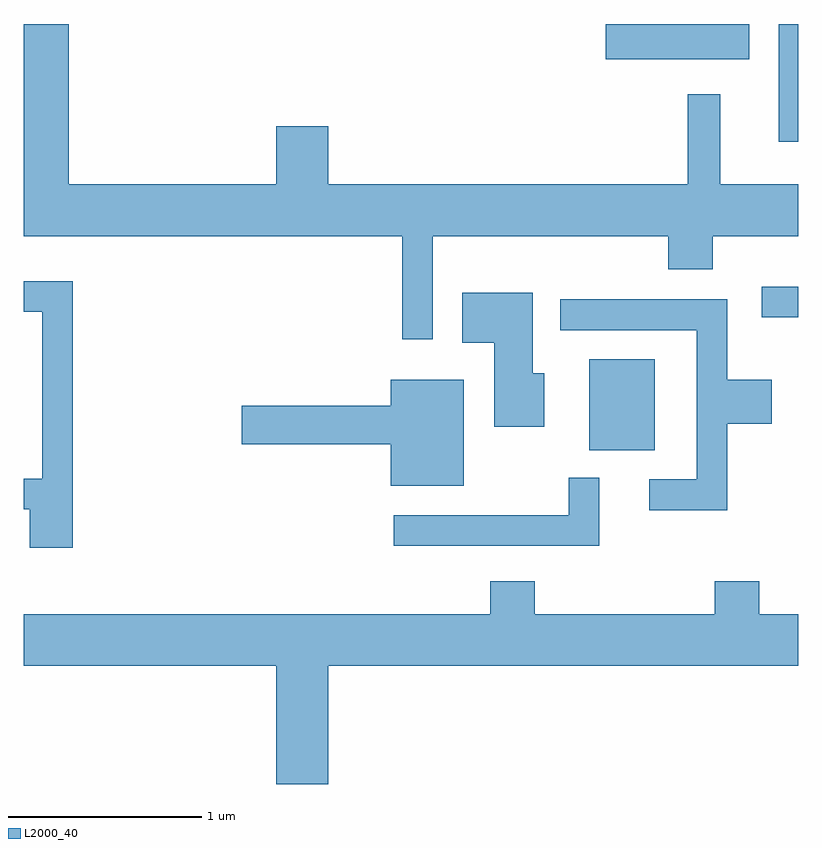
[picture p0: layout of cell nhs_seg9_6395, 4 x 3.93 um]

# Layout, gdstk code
import gdstk
lib = gdstk.Library(unit=1e-6, precision=1e-09)
def R(c, l, rs):  # rectangles x0, y0, x1, y1
    for r in rs: c.add(gdstk.rectangle(r[:2], r[2:], *l))
def P(c, l, *ps):  # polygons
    for p in ps: c.add(gdstk.Polygon(p, *l))
L2000_40 = (2000, 40)

nhs_seg9_6395 = lib.new_cell('nhs_seg9_6395')
R(nhs_seg9_6395, L2000_40, [(376.531,2026.231,376.869,2026.699), (377.423,2026.916,377.611,2027.074), (377.511,2027.823,377.611,2028.432), (376.616,2028.251,377.359,2028.432)])
P(nhs_seg9_6395, L2000_40, [(375.724,2027.336),(376.941,2027.336),(376.941,2027.166),(377.169,2027.166),(377.169,2027.336),(377.611,2027.336),(377.611,2027.604),(377.209,2027.604),(377.209,2028.068),(377.041,2028.068),(377.041,2027.604),(375.184,2027.604),(375.184,2027.904),(374.916,2027.904),(374.916,2027.604),(373.844,2027.604),(373.844,2028.432),(373.611,2028.432),(373.611,2027.336),(375.566,2027.336),(375.566,2026.803),(375.724,2026.803)],
  [(373.864,2027.104),(373.611,2027.104),(373.611,2026.946),(373.706,2026.946),(373.706,2026.084),(373.611,2026.084),(373.611,2025.926),(373.641,2025.926),(373.641,2025.726),(373.864,2025.726)],
  [(376.299,2026.629),(376.239,2026.629),(376.239,2027.044),(375.876,2027.044),(375.876,2026.786),(376.041,2026.786),(376.041,2026.351),(376.299,2026.351)],
  [(377.244,2026.366),(377.474,2026.366),(377.474,2026.594),(377.244,2026.594),(377.244,2027.009),(376.383,2027.009),(376.383,2026.851),(377.086,2026.851),(377.086,2026.079),(376.843,2026.079),(376.843,2025.921),(377.244,2025.921)],
  [(375.884,2026.594),(375.506,2026.594),(375.506,2026.459),(374.736,2026.459),(374.736,2026.261),(375.506,2026.261),(375.506,2026.046),(375.884,2026.046)],
  [(376.584,2026.088),(376.426,2026.088),(376.426,2025.894),(375.523,2025.894),(375.523,2025.736),(376.584,2025.736)],
  [(375.184,2025.116),(377.611,2025.116),(377.611,2025.384),(377.409,2025.384),(377.409,2025.554),(377.181,2025.554),(377.181,2025.384),(376.249,2025.384),(376.249,2025.554),(376.021,2025.554),(376.021,2025.384),(373.611,2025.384),(373.611,2025.116),(374.916,2025.116),(374.916,2024.506),(375.184,2024.506)])

lib.write_gds('nhs_seg9_6395.gds')
